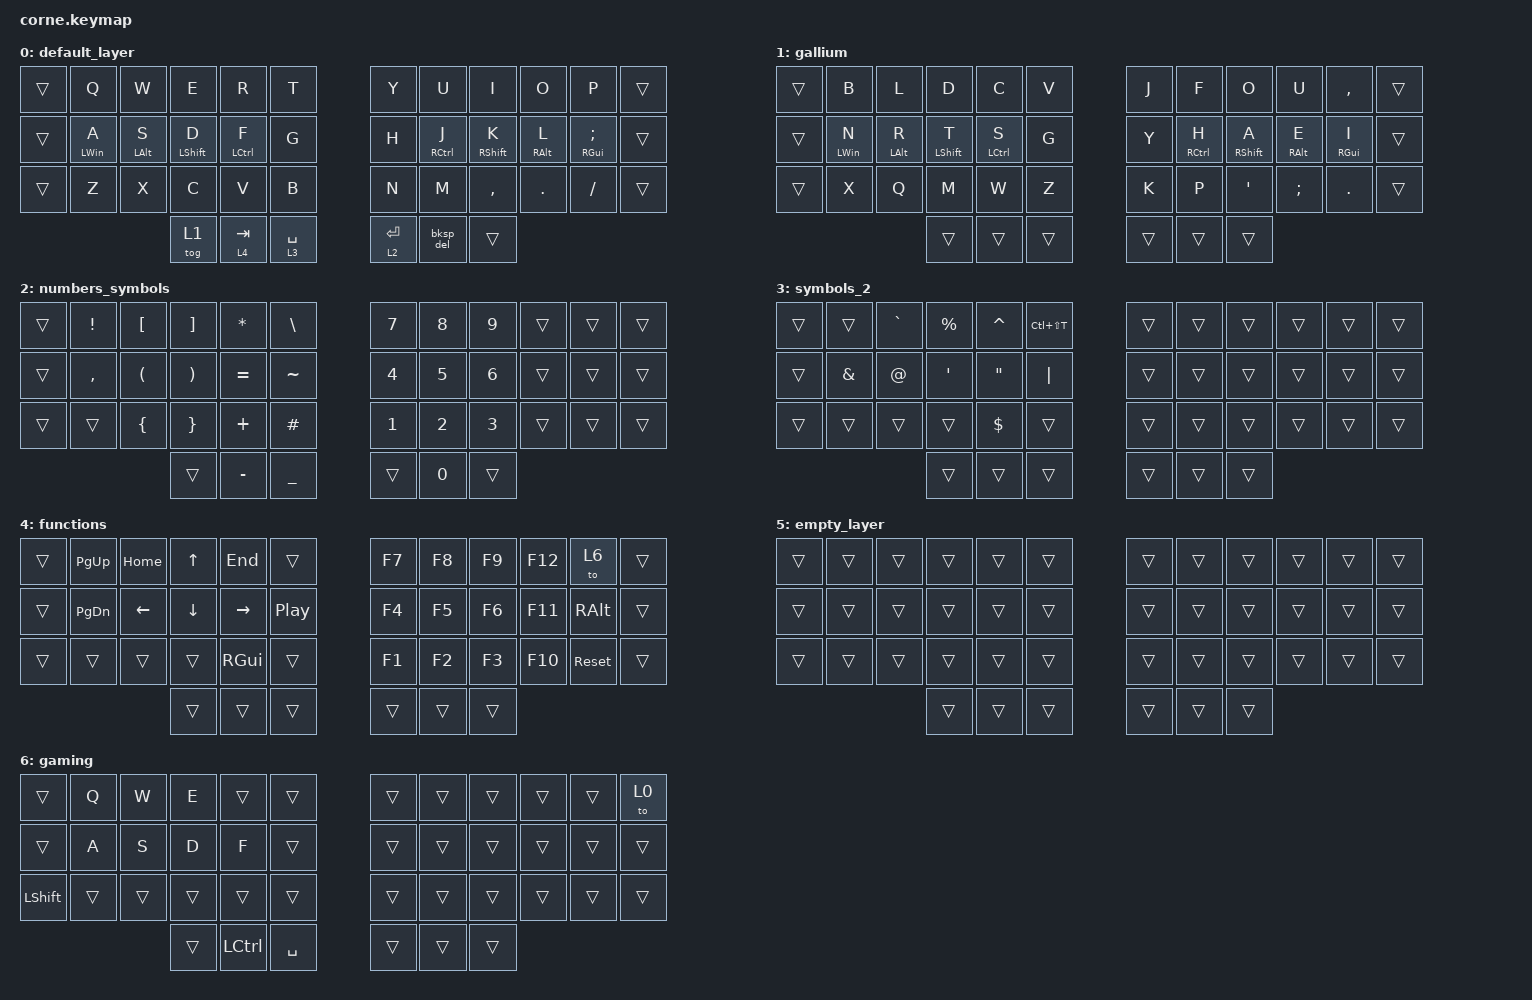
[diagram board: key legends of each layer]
/*
 * Copyright (c) 2020 The ZMK Contributors
 *
 * SPDX-License-Identifier: MIT
 */

#include <behaviors.dtsi>
#include <dt-bindings/zmk/keys.h>
#include <dt-bindings/zmk/bt.h>

&lt { quick-tap-ms = <200>; };

/ {
    combos {
        compatible = "zmk,combos";

        combo_esc {
            timeout-ms = <50>;
            key-positions = <19 20>;
            bindings = <&kp ESC>;
        };
    };

    behaviors {
        bksp_del: bksp_del {
            compatible = "zmk,behavior-mod-morph";
            label = "BKSP_DEL";
            bindings = <&kp BACKSPACE>, <&kp DEL>;
            #binding-cells = <0>;
            mods = <(MOD_LCTL)>;
        };

        hm: hm {
            compatible = "zmk,behavior-hold-tap";
            label = "HM";
            bindings = <&kp>, <&kp>;
            #binding-cells = <2>;
            tapping-term-ms = <200>;
            flavor = "balanced";
            hold-trigger-key-positions = <0 1 2 3 4 5 6 7 8 9 10 11 12 13 14 15 16 17 18 19 20 21 22 23 24 25 26 27 28 29 30 31 32 33 34 35 36 37 38 39 40 41>;
            hold-trigger-on-release;
        };
    };

    keymap {
        compatible = "zmk,keymap";

        default_layer {
            bindings = <
&trans  &kp Q       &kp W       &kp E        &kp R       &kp T          &kp Y        &kp U       &kp I         &kp O       &kp P          &trans
&trans  &hm LWIN A  &hm LALT S  &hm LSHFT D  &hm LCTRL F &kp G          &kp H        &hm RCTRL J &hm RSHFT K   &hm RALT L  &hm RGUI SEMI  &trans
&trans  &kp Z       &kp X       &kp C        &kp V       &kp B          &kp N        &kp M       &kp COMMA     &kp DOT     &kp FSLH       &trans
                                             &tog 1      &lt 4 TAB      &lt 3 SPACE  &lt 2 ENTER &bksp_del     &trans
            >;
        };

        gallium {
            bindings = <
&trans  &kp B       &kp L       &kp D        &kp C       &kp V      &kp J   &kp F        &kp O       &kp U       &kp COMMA  &trans
&trans  &hm LWIN N  &hm LALT R  &hm LSHFT T  &hm LCTRL S &kp G      &kp Y   &hm RCTRL H  &hm RSHFT A &hm RALT E  &hm RGUI I &trans
&trans  &kp X       &kp Q       &kp M        &kp W       &kp Z      &kp K   &kp P        &kp APOS    &kp SEMI    &kp DOT    &trans
                                             &trans      &trans     &trans  &trans       &trans      &trans
            >;
        };

        numbers_symbols {
            bindings = <
&trans  &kp EXCL    &kp LBKT    &kp RBKT     &kp ASTRK   &kp BSLH    &kp N7        &kp N8       &kp N9       &trans  &trans  &trans
&trans  &kp COMMA   &kp LPAR    &kp RPAR     &kp EQUAL   &kp TILDE   &kp N4        &kp N5       &kp N6       &trans  &trans  &trans
&trans  &trans      &kp LBRC    &kp RBRC     &kp PLUS    &kp HASH    &kp N1        &kp N2       &kp N3       &trans  &trans  &trans
                                             &trans      &kp MINUS   &kp UNDER     &trans       &kp N0       &trans
            >;
        };

        symbols_2 {
            bindings = <
&trans  &trans    &kp GRAVE   &kp PERCENT  &kp CARET   &kp LC(LS(T))    &trans  &trans  &trans  &trans  &trans  &trans
&trans  &kp AMPS  &kp AT      &kp SQT      &kp DQT     &kp PIPE         &trans  &trans  &trans  &trans  &trans  &trans
&trans  &trans    &trans      &trans       &kp DOLLAR  &trans           &trans  &trans  &trans  &trans  &trans  &trans
                                           &trans      &trans           &trans  &trans  &trans  &trans
            >;
        };

        functions {
            bindings = <
&trans  &kp PG_UP   &kp HOME    &kp UP       &kp END     &trans      &kp F7  &kp F8  &kp F9  &kp F12  &to 6       &trans
&trans  &kp PG_DN   &kp LEFT    &kp DOWN     &kp RIGHT   &kp C_PP    &kp F4  &kp F5  &kp F6  &kp F11  &kp RALT    &trans
&trans  &trans      &trans      &trans       &kp RGUI    &trans      &kp F1  &kp F2  &kp F3  &kp F10  &sys_reset  &trans
                                             &trans      &trans      &trans  &trans  &trans  &trans
            >;
        };

        empty_layer {
            bindings = <
&trans  &trans  &trans  &trans  &trans  &trans    &trans  &trans  &trans  &trans  &trans  &trans
&trans  &trans  &trans  &trans  &trans  &trans    &trans  &trans  &trans  &trans  &trans  &trans
&trans  &trans  &trans  &trans  &trans  &trans    &trans  &trans  &trans  &trans  &trans  &trans
                        &trans  &trans  &trans    &trans  &trans  &trans
            >;
        };

        gaming {
            bindings = <
&trans     &kp Q   &kp W   &kp E   &trans     &trans       &trans  &trans  &trans  &trans  &trans  &to 0
&trans     &kp A   &kp S   &kp D   &kp F      &trans       &trans  &trans  &trans  &trans  &trans  &trans
&kp LSHFT  &trans  &trans  &trans  &trans     &trans       &trans  &trans  &trans  &trans  &trans  &trans
                           &trans  &kp LCTRL  &kp SPACE    &trans  &trans  &trans
            >;
        };
    };
};
